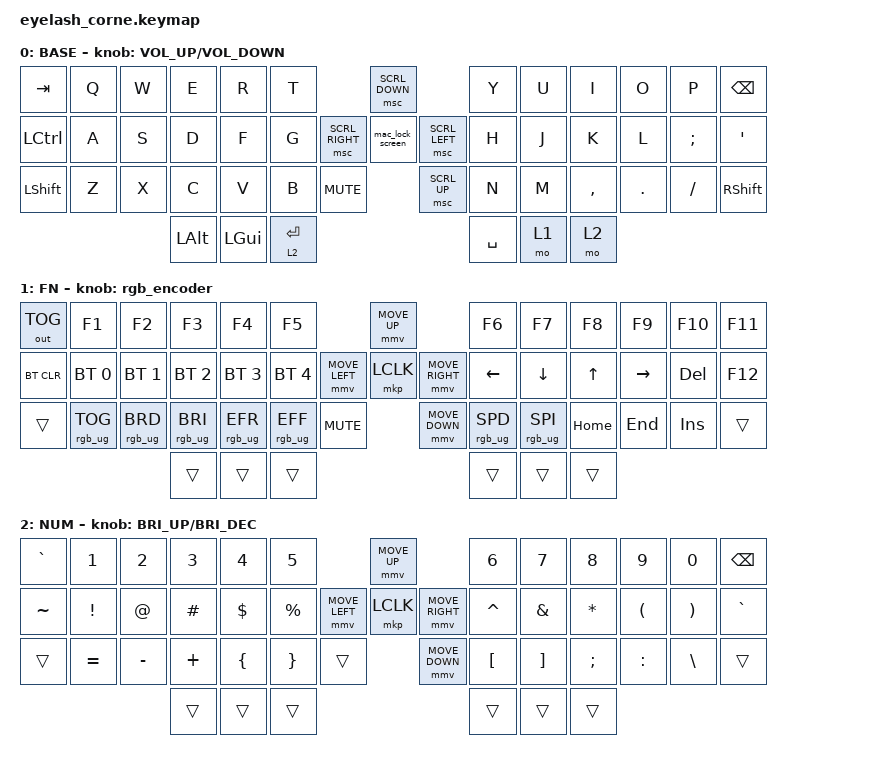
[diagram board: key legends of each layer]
#define ZMK_MOUSE_DEFAULT_MOVE_VAL 1200  // 600
#define ZMK_MOUSE_DEFAULT_SCRL_VAL 20    // 10

#include <dt-bindings/zmk/mouse.h>
#include <zephyr/dt-bindings/input/input-event-codes.h>
#include <input/processors.dtsi>
#include <behaviors.dtsi>
#include <dt-bindings/zmk/bt.h>
#include <dt-bindings/zmk/keys.h>
#include <dt-bindings/zmk/outputs.h>
#include <dt-bindings/zmk/pointing.h>
#include <dt-bindings/zmk/rgb.h>

&mmv_input_listener { input-processors = <&zip_xy_scaler 2 1>; };

&msc_input_listener { input-processors = <&zip_scroll_scaler 2 1>; };

&msc {
    acceleration-exponent = <1>;      // 0
    time-to-max-speed-ms = <100>;       // 300
    delay-ms = <0>;                   // 0
};

&mmv {
    time-to-max-speed-ms = <500>;
    acceleration-exponent = <1>;
    trigger-period-ms = <16>;
};

/ {
    behaviors {
        td0: td0 {
            compatible = "zmk,behavior-tap-dance";
            display-name = "Shift/Caps Lock Tap Dance";
            #binding-cells = <0>;
            bindings = <&kp LEFT_SHIFT>, <&kp CLCK>;

            tapping-term-ms = <60>;
        };
    };

    rgb_encoder: rgb_encoder {
        compatible = "zmk,behavior-sensor-rotate";
        #sensor-binding-cells = <0>;
        bindings = <&rgb_ug RGB_BRI>, <&rgb_ug RGB_BRD>;
    };

    scroll_encoder: scroll_encoder {
        compatible = "zmk,behavior-sensor-rotate";
        #sensor-binding-cells = <0>;
        bindings = <&msc SCRL_DOWN>, <&msc SCRL_UP>;

        tap-ms = <100>;
    };

    combos {
        compatible = "zmk,combos";

        combo_esc {
            bindings = <&kp ESC>;
            key-positions = <23 24>;
        };
    };

    macros {
        mac_lock_screen: mac_lock_screen {
            compatible = "zmk,behavior-macro";
            #binding-cells = <0>;
            bindings = <&sk LEFT_GUI &sk LCTRL &kp Q>;
            label = "MAC_LOCK_SCREEN";
        };
    };

    keymap {
        compatible = "zmk,keymap";

        default_layer {
            display-name = "BASE";
            bindings = <
&kp TAB           &kp Q  &kp W  &kp E         &kp R         &kp T                                       &msc SCRL_DOWN                    &kp Y      &kp U  &kp I      &kp O    &kp P     &kp BACKSPACE
&kp LEFT_CONTROL  &kp A  &kp S  &kp D         &kp F         &kp G                      &msc SCRL_RIGHT  &mac_lock_screen  &msc SCRL_LEFT  &kp H      &kp J  &kp K      &kp L    &kp SEMI  &kp SQT
&kp LEFT_SHIFT    &kp Z  &kp X  &kp C         &kp V         &kp B        &kp C_MUTE                     &msc SCRL_UP                      &kp N      &kp M  &kp COMMA  &kp DOT  &kp FSLH  &kp RIGHT_SHIFT
                                &kp LEFT_ALT  &kp LEFT_GUI  &lt 2 ENTER                                                                   &kp SPACE  &mo 1  &mo 2
            >;

            sensor-bindings = <&inc_dec_kp C_VOLUME_UP C_VOLUME_DOWN>;
        };

        lower_layer {
            display-name = "FN";
            bindings = <
&out OUT_TOG  &kp F1           &kp F2           &kp F3           &kp F4           &kp F5                                         &mmv MOVE_UP                     &kp F6           &kp F7           &kp F8    &kp F9     &kp F10     &kp F11
&bt BT_CLR    &bt BT_SEL 0     &bt BT_SEL 1     &bt BT_SEL 2     &bt BT_SEL 3     &bt BT_SEL 4                   &mmv MOVE_LEFT  &mkp LCLK       &mmv MOVE_RIGHT  &kp LEFT         &kp DOWN         &kp UP    &kp RIGHT  &kp DELETE  &kp F12
&trans        &rgb_ug RGB_TOG  &rgb_ug RGB_BRD  &rgb_ug RGB_BRI  &rgb_ug RGB_EFR  &rgb_ug RGB_EFF  &kp C_MUTE                    &mmv MOVE_DOWN                   &rgb_ug RGB_SPD  &rgb_ug RGB_SPI  &kp HOME  &kp END    &kp INS     &trans
                                                &trans           &trans           &trans                                                                          &trans           &trans           &trans
            >;

            sensor-bindings = <&rgb_encoder>;
        };

        raise_layer {
            display-name = "NUM";
            bindings = <
&kp GRAVE  &kp NUMBER_1     &kp NUMBER_2  &kp NUMBER_3  &kp NUMBER_4    &kp N5                                     &mmv MOVE_UP                     &kp NUMBER_6      &kp N7             &kp N8         &kp N9                &kp N0                 &kp BACKSPACE
&kp TILDE  &kp EXCLAMATION  &kp AT_SIGN   &kp POUND     &kp DOLLAR      &kp PERCENT                &mmv MOVE_LEFT  &mkp LCLK       &mmv MOVE_RIGHT  &kp CARET         &kp AMPERSAND      &kp ASTERISK   &kp LEFT_PARENTHESIS  &kp RIGHT_PARENTHESIS  &kp GRAVE
&trans     &kp EQUAL        &kp MINUS     &kp PLUS      &kp LEFT_BRACE  &kp RIGHT_BRACE  &trans                    &mmv MOVE_DOWN                   &kp LEFT_BRACKET  &kp RIGHT_BRACKET  &kp SEMICOLON  &kp COLON             &kp BACKSLASH          &trans
                                          &trans        &trans          &trans                                                                      &trans            &trans             &trans
            >;

            sensor-bindings = <&inc_dec_kp C_BRI_UP C_BRI_DEC>;
        };
    };
};
